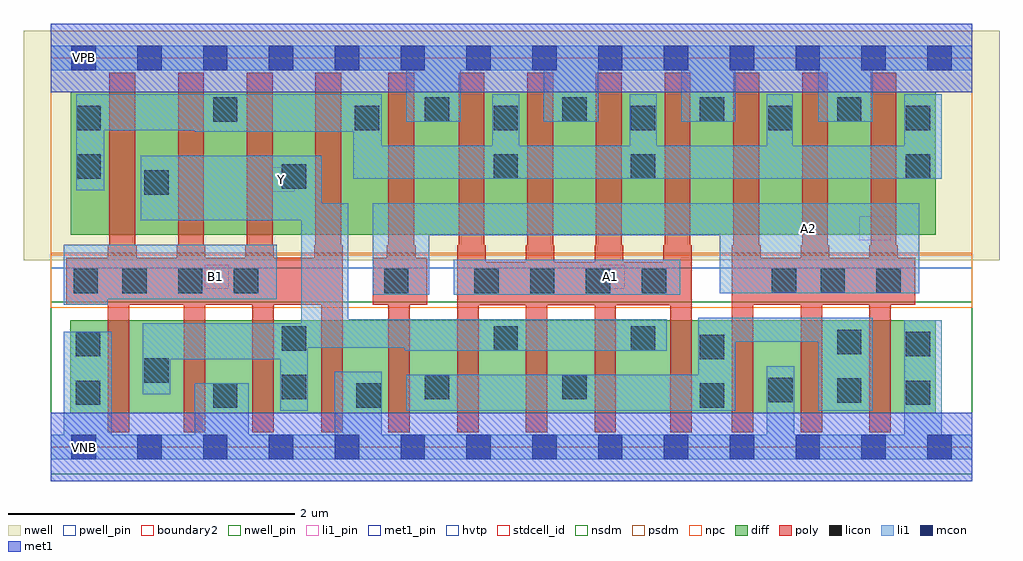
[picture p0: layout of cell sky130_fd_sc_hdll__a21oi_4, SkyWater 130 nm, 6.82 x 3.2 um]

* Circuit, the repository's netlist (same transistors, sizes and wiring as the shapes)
* Copyright 2020 The SkyWater PDK Authors
*
* Licensed under the Apache License, Version 2.0 (the "License");
* you may not use this file except in compliance with the License.
* You may obtain a copy of the License at
*
*     https://www.apache.org/licenses/LICENSE-2.0
*
* Unless required by applicable law or agreed to in writing, software
* distributed under the License is distributed on an "AS IS" BASIS,
* WITHOUT WARRANTIES OR CONDITIONS OF ANY KIND, either express or implied.
* See the License for the specific language governing permissions and
* limitations under the License.
*
* SPDX-License-Identifier: Apache-2.0

.SUBCKT sky130_fd_sc_hdll__a21oi_4 A1 A2 B1 VGND VNB VPB VPWR Y
*.PININFO A1:I A2:I B1:I VGND:I VNB:I VPB:I VPWR:I Y:O
MMPA0 pndA A1 VPWR VPB sky130_fd_pr__pfet_01v8_hvt m=4 w=1.0U l=0.18U mult=1 sa=0.265
+ sb=0.265 sd=0.28 area=0.063 perim=1.14
MMPA1 pndA A2 VPWR VPB sky130_fd_pr__pfet_01v8_hvt m=4 w=1.0U l=0.18U mult=1 sa=0.265
+ sb=0.265 sd=0.28 area=0.063 perim=1.14
MMPB0 Y B1 pndA VPB sky130_fd_pr__pfet_01v8_hvt m=4 w=1.0U l=0.18U mult=1 sa=0.265
+ sb=0.265 sd=0.28 area=0.063 perim=1.14
MMNA0 Y A1 sndA1 VNB sky130_fd_pr__nfet_01v8 m=4 w=0.65U l=0.15U mult=1 sa=0.265
+ sb=0.265 sd=0.28 area=0.063 perim=1.14
MMNA1 sndA1 A2 VGND VNB sky130_fd_pr__nfet_01v8 m=4 w=0.65U l=0.15U mult=1 sa=0.265
+ sb=0.265 sd=0.28 area=0.063 perim=1.14
MMNB0 Y B1 VGND VNB sky130_fd_pr__nfet_01v8 m=4 w=0.65U l=0.15U mult=1 sa=0.265
+ sb=0.265 sd=0.28 area=0.063 perim=1.14
.ENDS sky130_fd_sc_hdll__a21oi_4

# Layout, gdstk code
import gdstk
lib = gdstk.Library(unit=1e-6, precision=1e-09)
def R(c, l, rs):  # rectangles x0, y0, x1, y1
    for r in rs: c.add(gdstk.rectangle(r[:2], r[2:], *l))
def A(c, l, x, y, w, h, nx, ny, dx, dy):  # array of equal rectangles
    R(c, l, [(x+i*dx, y+j*dy, x+i*dx+w, y+j*dy+h) for i in range(nx) for j in range(ny)])
def P(c, l, *ps):  # polygons
    for p in ps: c.add(gdstk.Polygon(p, *l))
nwell_pin = (64, 16)
nwell = (64, 20)
diff = (65, 20)
poly = (66, 20)
licon = (66, 44)
li1_pin = (67, 16)
li1 = (67, 20)
mcon = (67, 44)
met1_pin = (68, 16)
met1 = (68, 20)
hvtp = (78, 44)
stdcell_id = (81, 4)
nsdm = (93, 44)
psdm = (94, 20)
npc = (95, 20)
pwell_pin = (122, 16)
boundary2 = (236, 0)

sky130_fd_sc_hdll__a21oi = lib.new_cell('sky130_fd_sc_hdll__a21oi_4')
R(sky130_fd_sc_hdll__a21oi, nwell_pin, [(0.15,2.635,0.32,2.805)])
R(sky130_fd_sc_hdll__a21oi, nwell, [(-0.19,1.305,6.63,2.91)])
R(sky130_fd_sc_hdll__a21oi, diff, [(0.135,0.235,6.185,0.885), (0.14,1.485,6.185,2.485)])
P(sky130_fd_sc_hdll__a21oi, poly, [(2.04,1.41),(2.03,1.41),(2.03,2.615),(1.85,2.615),(1.85,1.41),(1.84,1.41),(1.84,1.325),(1.56,1.325),(1.56,1.41),(1.55,1.41),(1.55,2.615),(1.37,2.615),(1.37,1.41),(1.36,1.41),(1.36,1.325),(1.08,1.325),(1.08,1.41),(1.07,1.41),(1.07,2.615),(0.89,2.615),(0.89,1.41),(0.88,1.41),(0.88,1.325),(0.6,1.325),(0.6,1.41),(0.59,1.41),(0.59,2.615),(0.41,2.615),(0.41,1.41),(0.4,1.41),(0.4,1.325),(0.11,1.325),(0.11,0.995),(0.4,0.995),(0.4,0.105),(0.55,0.105),(0.55,0.995),(0.93,0.995),(0.93,0.105),(1.08,0.105),(1.08,0.995),(1.41,0.995),(1.41,0.105),(1.56,0.105),(1.56,0.995),(1.89,0.995),(1.89,0.105),(2.04,0.105)],
  [(2.63,1.325),(2.55,1.325),(2.55,1.41),(2.54,1.41),(2.54,2.615),(2.36,2.615),(2.36,1.41),(2.35,1.41),(2.35,1.325),(2.25,1.325),(2.25,0.995),(2.36,0.995),(2.36,0.105),(2.51,0.105),(2.51,0.995),(2.63,0.995)],
  [(4.48,1.41),(4.47,1.41),(4.47,2.615),(4.29,2.615),(4.29,1.41),(4.28,1.41),(4.28,1.295),(4,1.295),(4,1.41),(3.99,1.41),(3.99,2.615),(3.81,2.615),(3.81,1.41),(3.8,1.41),(3.8,1.295),(3.52,1.295),(3.52,1.41),(3.51,1.41),(3.51,2.615),(3.33,2.615),(3.33,1.41),(3.32,1.41),(3.32,1.295),(3.04,1.295),(3.04,1.41),(3.03,1.41),(3.03,2.615),(2.85,2.615),(2.85,1.41),(2.84,1.41),(2.84,0.105),(2.99,0.105),(2.99,0.99),(3.32,0.99),(3.32,0.105),(3.47,0.105),(3.47,0.99),(3.8,0.99),(3.8,0.105),(3.95,0.105),(3.95,0.99),(4.33,0.99),(4.33,0.105),(4.48,0.105)],
  [(6.04,1.325),(5.92,1.325),(5.92,1.41),(5.91,1.41),(5.91,2.615),(5.73,2.615),(5.73,1.41),(5.72,1.41),(5.72,1.325),(5.44,1.325),(5.44,1.41),(5.43,1.41),(5.43,2.615),(5.25,2.615),(5.25,1.41),(5.24,1.41),(5.24,1.325),(4.96,1.325),(4.96,1.41),(4.95,1.41),(4.95,2.615),(4.77,2.615),(4.77,1.41),(4.76,1.41),(4.76,0.105),(4.91,0.105),(4.91,0.995),(5.24,0.995),(5.24,0.105),(5.39,0.105),(5.39,0.995),(5.72,0.995),(5.72,0.105),(5.87,0.105),(5.87,0.995),(6.04,0.995)])
A(sky130_fd_sc_hdll__a21oi, licon, 0.5, 1.075, 0.17, 0.17, 3, 1, 0.39, 0)
A(sky130_fd_sc_hdll__a21oi, licon, 2.96, 1.075, 0.17, 0.17, 4, 1, 0.39, 0)
A(sky130_fd_sc_hdll__a21oi, licon, 3.095, 2.215, 0.17, 0.17, 4, 1, 0.96, 0)
A(sky130_fd_sc_hdll__a21oi, licon, 2.615, 2.275, 0.17, 0.17, 4, 1, 0.96, 0)
R(sky130_fd_sc_hdll__a21oi, licon, [(1.135,0.275,1.305,0.445), (2.135,0.275,2.305,0.445), (4.535,0.275,4.705,0.445), (0.175,0.295,0.345,0.465), (5.975,0.295,6.145,0.465), (5.495,0.31,5.665,0.48), (5.015,0.315,5.185,0.485), (1.615,0.335,1.785,0.505), (2.615,0.335,2.785,0.505), (3.575,0.335,3.745,0.505), (0.655,0.45,0.825,0.62), (4.535,0.615,4.705,0.785), (0.175,0.635,0.345,0.805), (5.975,0.635,6.145,0.805), (5.495,0.65,5.665,0.82), (1.615,0.675,1.785,0.845), (3.095,0.675,3.265,0.845), (4.055,0.675,4.225,0.845), (0.16,1.075,0.33,1.245), (2.33,1.075,2.5,1.245), (5.04,1.075,5.21,1.245), (5.38,1.075,5.55,1.245), (5.77,1.075,5.94,1.245), (0.655,1.765,0.825,1.935), (1.615,1.805,1.785,1.975), (0.18,1.875,0.35,2.045), (3.095,1.875,3.265,2.045), (4.055,1.875,4.225,2.045), (5.975,1.875,6.145,2.045), (0.18,2.215,0.35,2.385), (2.125,2.215,2.295,2.385), (1.135,2.275,1.305,2.445)])
R(sky130_fd_sc_hdll__a21oi, li1_pin, [(1.075,1.105,1.245,1.275), (3.84,1.105,4.01,1.275), (5.65,1.445,5.87,1.615), (1.535,1.785,1.705,1.955)])
R(sky130_fd_sc_hdll__a21oi, li1, [(2.815,1.065,4.4,1.31)])
P(sky130_fd_sc_hdll__a21oi, li1, [(6.44,0.085),(6.225,0.085),(6.225,0.885),(5.965,0.885),(5.965,0.085),(5.195,0.085),(5.195,0.565),(5.005,0.565),(5.005,0.085),(2.315,0.085),(2.315,0.525),(1.985,0.525),(1.985,0.085),(1.385,0.085),(1.385,0.445),(1.005,0.445),(1.005,0.085),(0.425,0.085),(0.425,0.805),(0.09,0.805),(0.09,0.085),(0,0.085),(0,-0.085),(6.44,-0.085)],
  [(6.44,2.805),(0,2.805),(0,2.635),(2.485,2.635),(2.485,2.275),(2.865,2.275),(2.865,2.635),(3.445,2.635),(3.445,2.275),(3.825,2.275),(3.825,2.635),(4.405,2.635),(4.405,2.275),(4.785,2.275),(4.785,2.635),(5.365,2.635),(5.365,2.275),(5.745,2.275),(5.745,2.635),(6.44,2.635)],
  [(6.225,2.465),(5.965,2.465),(5.965,2.105),(5.185,2.105),(5.185,2.465),(5.005,2.465),(5.005,2.105),(4.235,2.105),(4.235,2.465),(4.045,2.465),(4.045,2.105),(3.275,2.105),(3.275,2.465),(3.085,2.465),(3.085,2.105),(2.315,2.105),(2.315,2.465),(0.18,2.465),(0.18,1.795),(0.375,1.795),(0.375,2.215),(1.005,2.215),(1.005,2.205),(2.115,2.205),(2.115,1.875),(6.225,1.875)],
  [(5.745,0.905),(4.525,0.905),(4.525,0.505),(2.485,0.505),(2.485,0.255),(4.785,0.255),(4.785,0.735),(5.365,0.735),(5.365,0.255),(5.745,0.255)],
  [(6.07,1.705),(2.25,1.705),(2.25,1.065),(2.645,1.065),(2.645,1.48),(4.675,1.48),(4.675,1.075),(6.07,1.075)],
  [(1.58,1.415),(0.09,1.415),(0.09,0.995),(0.4,0.995),(0.4,1.035),(1.58,1.035)],
  [(4.305,0.895),(2.08,0.895),(2.08,1.705),(1.895,1.705),(1.895,2.035),(0.63,2.035),(0.63,1.585),(1.75,1.585),(1.75,0.865),(0.645,0.865),(0.645,0.37),(0.835,0.37),(0.835,0.615),(1.605,0.615),(1.605,0.255),(1.795,0.255),(1.795,0.695),(2.475,0.695),(2.475,0.675),(4.305,0.675)])
A(sky130_fd_sc_hdll__a21oi, mcon, 0.145, -0.085, 0.17, 0.17, 14, 2, 0.46, 2.72)
R(sky130_fd_sc_hdll__a21oi, met1_pin, [(0.15,-0.085,0.32,0.085), (0.15,2.635,0.32,2.805)])
R(sky130_fd_sc_hdll__a21oi, met1, [(0,-0.24,6.44,0.24), (0,2.48,6.44,2.96)])
R(sky130_fd_sc_hdll__a21oi, hvtp, [(0,1.25,6.44,2.72)])
R(sky130_fd_sc_hdll__a21oi, stdcell_id, [(0,0,6.44,2.72)])
R(sky130_fd_sc_hdll__a21oi, nsdm, [(0,-0.19,6.44,1.015)])
R(sky130_fd_sc_hdll__a21oi, psdm, [(0,1.355,6.44,2.91)])
R(sky130_fd_sc_hdll__a21oi, npc, [(0,0.975,6.44,1.345)])
R(sky130_fd_sc_hdll__a21oi, pwell_pin, [(0.15,-0.085,0.32,0.085)])
R(sky130_fd_sc_hdll__a21oi, boundary2, [(0,0,6.44,2.72)])
sky130_fd_sc_hdll__a21oi.add(gdstk.Label('B1', (1.155,1.19), layer=67, texttype=5))
sky130_fd_sc_hdll__a21oi.add(gdstk.Label('A2', (5.295,1.53), layer=67, texttype=5))
sky130_fd_sc_hdll__a21oi.add(gdstk.Label('A1', (3.915,1.19), layer=67, texttype=5))
sky130_fd_sc_hdll__a21oi.add(gdstk.Label('Y', (1.615,1.87), layer=67, texttype=5))
sky130_fd_sc_hdll__a21oi.add(gdstk.Label('VNB', (0.235,0), layer=64, texttype=59))
sky130_fd_sc_hdll__a21oi.add(gdstk.Label('VPB', (0.235,2.72), layer=64, texttype=5))
sky130_fd_sc_hdll__a21oi.add(gdstk.Label('VGND', (0.235,0), layer=68, texttype=5))
sky130_fd_sc_hdll__a21oi.add(gdstk.Label('VPWR', (0.235,2.72), layer=68, texttype=5))

lib.write_gds('sky130_fd_sc_hdll__a21oi_4.gds')
